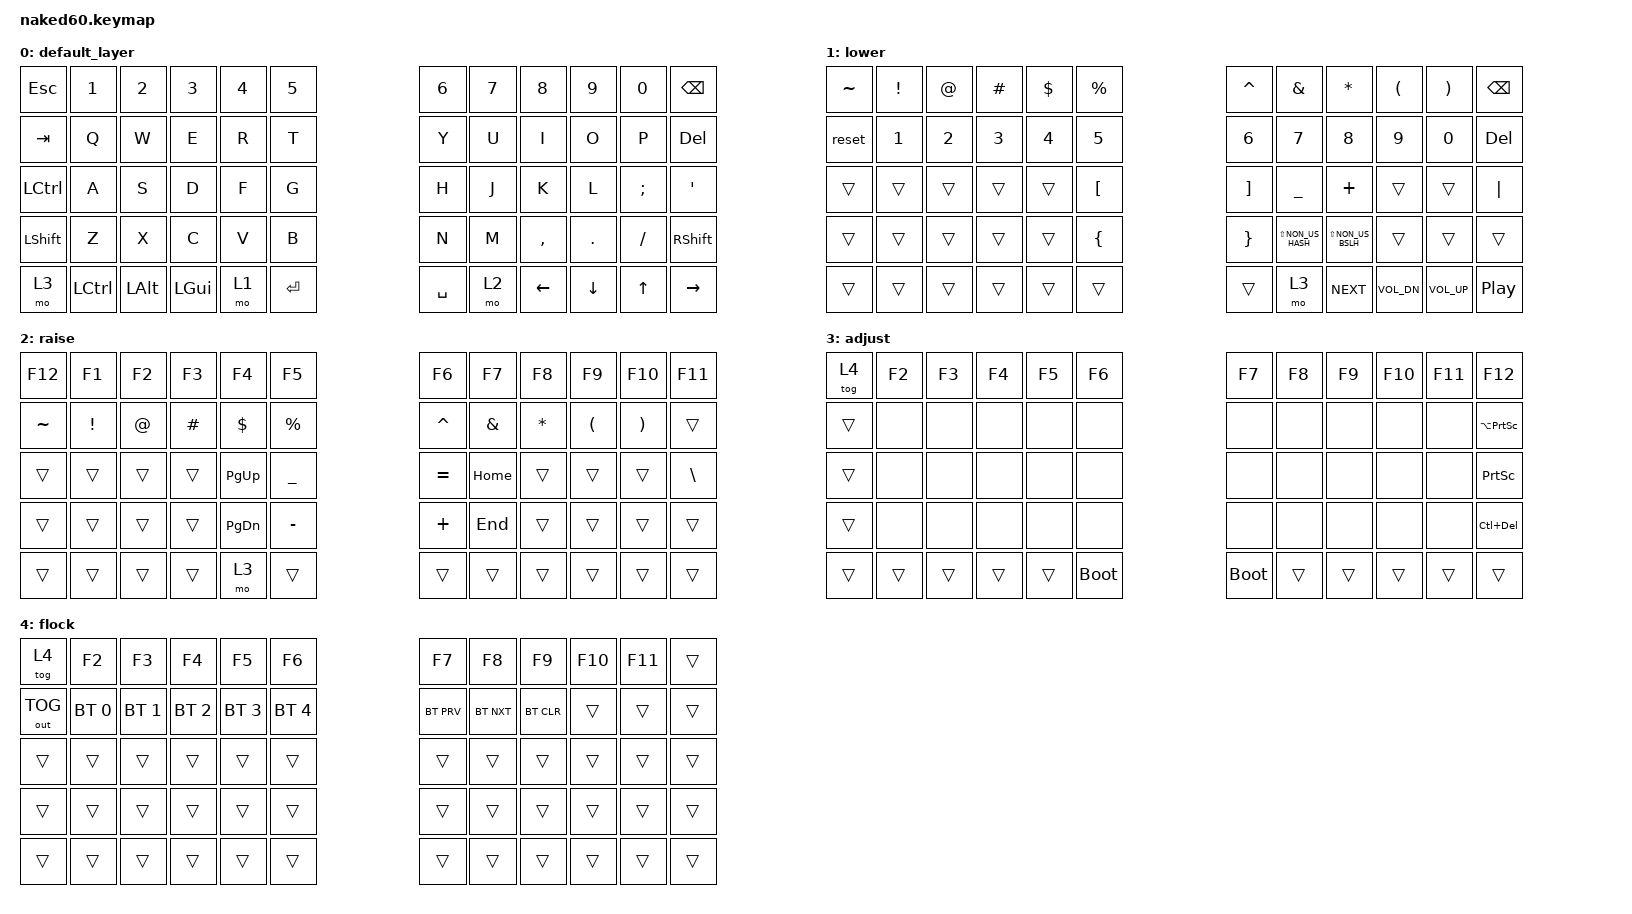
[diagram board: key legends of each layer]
/*
 * Copyright (c) 2020 The ZMK Contributors
 *
 * SPDX-License-Identifier: MIT
 */

#include <behaviors.dtsi>
#include <dt-bindings/zmk/keys.h>
#include <dt-bindings/zmk/bt.h>
#include <dt-bindings/zmk/outputs.h>


/ {
    keymap {
        compatible = "zmk,keymap";

        default_layer {
            // ----------------------------------------------------------------------------------------------------------
            // |  ESC  |  1   |  2   |  3   |  4   |  5   |-------|-------|   6   |  7    |  8   |  9   |   0   | BSPC  |
            // |  TAB  |  Q   |  W   |  E   |  R   |  T   |-------|-------|   Y   |  U    |  I   |  O   |   P   | DEL   |
            // | CTRL  |  A   |  S   |  D   |  F   |  G   |-------|-------|   H   |  J    |  K   |  L   |   ;   |  '    |
            // | SHIFT |  Z   |  X   |  C   |  V   |  B   |-------|-------|   N   |  M    |  ,   |  .   |   /   | SHIFT |
            // |-------|ADJUST| LCTL | LALT | LGUI | LOWR | ENTER | SPACE |  RAIS | LARW | DARW | UARW  | RARW  |-------|


            bindings = <
                &kp ESC    &kp N1 &kp N2    &kp N3   &kp N4   &kp N5                    &kp N6 &kp N7   &kp N8    &kp N9  &kp N0    &kp BSPC
                &kp TAB    &kp Q  &kp W     &kp E    &kp R    &kp T                     &kp Y  &kp U    &kp I     &kp O   &kp P     &kp DEL
                &kp LCTRL  &kp A  &kp S     &kp D    &kp F    &kp G                     &kp H  &kp J    &kp K     &kp L   &kp SEMI  &kp SQT
                &kp LSHFT  &kp Z  &kp X     &kp C    &kp V    &kp B                     &kp N  &kp M    &kp COMMA &kp DOT &kp FSLH  &kp RSHFT
                           &mo 3  &kp LCTRL &kp LALT &kp LGUI &mo 1 &kp RET &kp SPACE &mo 2  &kp LEFT &kp DOWN  &kp UP  &kp RIGHT 
            >;
        };

        lower {
            // ----------------------------------------------------------------------------------------------------------
            // |   ~   |  !   |  @   |  #   |  $   |  %   |-------|-------|   ^   |   &   |  *   |  (   |   )   | BSPC  |
            // | RESET |  1   |  2   |  3   |  4   |  5   |-------|-------|   6   |  7    |  8   |  9   |   0   |  DEL  |
            // |       |      |      |      |      |  [   |-------|-------|   ]   |   _   |  +   |      |       |   |   |
            // |       |      |      |      |      |  {   |-------|-------|   }   | LS(#) |LS(|) |      |       |       |
            // |-------|      |      |      |      |      |       |       |       | NEXT  | Vol- | Vol+ | PLAY  |-------|
            bindings = <
                &kp TILDE &kp EXCL &kp AT   &kp HASH &kp DLLR  &kp PRCNT               &kp CARET &kp AMPS            &kp ASTRK           &kp LPAR     &kp RPAR         &kp BSPC
                &reset    &kp N1   &kp N2   &kp N3   &kp N4    &kp N5                  &kp N6    &kp N7              &kp N8              &kp N9       &kp N0           &kp DEL
                &trans    &trans   &trans   &trans   &trans    &kp LBKT                &kp RBKT  &kp UNDER           &kp PLUS            &trans       &trans           &kp PIPE
                &trans    &trans   &trans   &trans   &trans    &kp LBRC                &kp RBRC  &kp LS(NON_US_HASH) &kp LS(NON_US_BSLH) &trans       &trans           &trans
                          &trans   &trans   &trans   &trans    &trans    &trans &trans &mo 3     &kp C_NEXT          &kp C_VOL_DN        &kp C_VOL_UP &kp C_PLAY_PAUSE 
            >;
        };

        raise {
            // ----------------------------------------------------------------------------------------------------------
            // |  F12  |  F1  |  F2  |  F3  |  F4  |  F5  |-------|-------|  F6   |  F7   |  F8  | F9   |  F10  |  F11  |
            // |   ~   |  !   |  @   |  #   |  $   |  %   |-------|-------|   ^   |   &   |  *   |  (   |   )   |       |
            // |       |      |      |      | PG_UP|  _   |-------|-------|  =    |  HOME |      |      |       |   \   |
            // |       |      |      |      | PG_DN|  -   |-------|-------|  +    |  END  |      |      |       |       |
            // |-------|      |      |      |      |      |       |       |       |       |      |      |       |-------|
            bindings = <
                &kp F12   &kp F1   &kp F2   &kp F3   &kp F4    &kp F5                &kp F6    &kp F7          &kp F8          &kp F9       &kp F10          &kp F11
                &kp TILDE &kp EXCL &kp AT   &kp HASH &kp DLLR  &kp PRCNT             &kp CARET &kp AMPS        &kp ASTRK       &kp LPAR     &kp RPAR         &trans
                &trans    &trans   &trans   &trans   &kp PG_UP &kp UNDER             &kp EQUAL &kp HOME        &trans          &trans       &trans           &kp BSLH
                &trans    &trans   &trans   &trans   &kp PG_DN &kp MINUS             &kp PLUS  &kp END         &trans          &trans       &trans           &trans
                          &trans   &trans   &trans   &trans    &mo 3   &trans &trans &trans    &trans          &trans          &trans       &trans
            >;
        };

        adjust {
            // ----------------------------------------------------------------------------------------------------------
            // |tog(4)|  F2  |  F3  |  F4  |  F5  |  F6  |------|------|  F7  |  F8  |  F9  |  F10 |  F11 |    F12    |
            // |      |  NA  |  NA  |  NA  |  NA  |  NA  |------|------|  NA  |  NA  |  NA  |  NA  |  NA  |LALT(PRTSN)|
            // |      |  NA  |  NA  |  NA  |  NA  |  NA  |------|------|  NA  |  NA  |  NA  |  NA  |  NA  |   PRTSN   |
            // |      |  NA  |  NA  |  NA  |  NA  |  NA  |------|------|  NA  |  NA  |  NA  |  NA  |  NA  |LCTRL(DEL) |
            // |------|      |      |      |      |      |BOOTLD|BOOTLD|      |      |      |      |      |-----------|
            bindings = <
                &tog 4 &kp F2 &kp F3 &kp F4 &kp F5 &kp F6                         &kp F7 &kp F8 &kp F9 &kp F10 &kp F11 &kp F12
                &trans &none  &none  &none  &none  &none                          &none  &none  &none  &none   &none   &kp LA(PSCRN)
                &trans &none  &none  &none  &none  &none                          &none  &none  &none  &none   &none   &kp PSCRN
                &trans &none  &none  &none  &none  &none                          &none  &none  &none  &none   &none   &kp LC(DEL)
                       &trans &trans &trans &trans &trans &bootloader &bootloader &trans &trans &trans &trans  &trans
            >;
        };

        flock {
            // ----------------------------------------------------------------------------------------------------------
            // |tog(4) |  F2    |   F3   |   F4   |   F5   |   F6   |-------|-------|  F7  |  F8  |  F9  | F10 | F11 |      |
            // |out tog|BT_SEL 0|BT_SEL 1|BT_SEL 2|BT_SEL 3|BT_SEL 4|-------|-------|BT_PRV|BT_NXT|BT_CLR|     |     |      |
            // |       |        |        |        |        |        |-------|-------|      |      |      |     |     |      |
            // |       |        |        |        |        |        |-------|-------|      |      |      |     |     |      |
            // |-------|        |        |        |        |        |       |       |      |      |      |     |     |------|
            bindings = <
                &tog 4       &kp F2       &kp F3       &kp F4       &kp F5       &kp F6                     &kp F7     &kp F8     &kp F9     &kp F10 &kp F11 &trans
                &out OUT_TOG &bt BT_SEL 0 &bt BT_SEL 1 &bt BT_SEL 2 &bt BT_SEL 3 &bt BT_SEL 4               &bt BT_PRV &bt BT_NXT &bt BT_CLR &trans  &trans  &trans
                &trans       &trans       &trans       &trans       &trans       &trans                     &trans     &trans     &trans     &trans  &trans  &trans
                &trans       &trans       &trans       &trans       &trans       &trans                     &trans     &trans     &trans     &trans  &trans  &trans
                             &trans       &trans       &trans       &trans       &trans       &trans &trans &trans     &trans     &trans     &trans  &trans
            >;
        };
    };
};
